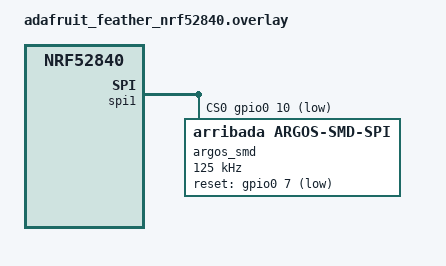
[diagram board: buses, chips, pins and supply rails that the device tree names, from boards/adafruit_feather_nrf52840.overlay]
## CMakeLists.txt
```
# Copyright (c) 2025 Arribada Initiative
# SPDX-License-Identifier: Apache-2.0

cmake_minimum_required(VERSION 3.20.0)

find_package(Zephyr REQUIRED HINTS $ENV{ZEPHYR_BASE})
project(argos_smd_spi_cmd)

target_sources(app PRIVATE src/main.c)
```

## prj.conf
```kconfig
# Copyright (c) 2025 Arribada Initiative
# SPDX-License-Identifier: Apache-2.0

# Argos SMD driver with SPI transport
CONFIG_ARGOS_SMD=y
CONFIG_ARGOS_SMD_SPI=y

# SPI support
CONFIG_SPI=y
CONFIG_GPIO=y

# Logging
CONFIG_LOG=y
CONFIG_LOG_MODE_IMMEDIATE=y
CONFIG_ARGOS_SMD_LOG_LEVEL_DBG=y

# RTT console for debugging
CONFIG_USE_SEGGER_RTT=y
CONFIG_RTT_CONSOLE=y
CONFIG_UART_CONSOLE=n

# RTT log backend must DROP (not block) when its buffer is full, otherwise with
# immediate logging it busy-waits while no RTT host is draining and a context
# switch during that wait can fault. Larger up-buffer for the boot burst.
CONFIG_LOG_BACKEND_RTT_MODE_DROP=y
CONFIG_SEGGER_RTT_BUFFER_SIZE_UP=16384

# Increase stack sizes
CONFIG_MAIN_STACK_SIZE=4096
```

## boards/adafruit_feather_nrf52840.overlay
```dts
/*
 * Copyright (c) 2025 Arribada Initiative
 * SPDX-License-Identifier: Apache-2.0
 *
 * SPI Command Test overlay for Adafruit Feather nRF52840
 *
 * Wiring (Feather -> Argos SMD/STM32):
 * - SCK  (P0.14) -> SPI_CLK  (STM32 PA1)
 * - MOSI (P0.13) -> SPI_MOSI (STM32 PB5)
 * - MISO (P0.15) -> SPI_MISO (STM32 PB4)
 * - CS   (P0.10) -> SPI_NSS  (STM32 PA15)
 * - RST  (P0.07) -> NRST     (recommended: wakes the module from SHUTDOWN
 *                             as a cold boot; the sample uses argos_spi_reset())
 *
 * Waking from SHUTDOWN: in SHUTDOWN the STM32WL55 powers down VCORE and the
 * SPI bus is dead. It can only be woken by NRST (above), by a rising edge on
 * WKUP3 = STM32 PB3, or by its internal RTC. The reset wire is enough for the
 * sample. Optionally, to wake WITHOUT a cold boot (preserving module state),
 * wire Feather D9 (P0.26) -> STM32 PB3/WKUP3 and uncomment wakeup-gpios below;
 * then call argos_spi_wakeup_enable()/disable() instead of/around the reset.
 */

#include <zephyr/dt-bindings/gpio/gpio.h>

/* Disable NFC to use P0.09/P0.10 as GPIO */
&uicr {
	nfct-pins-as-gpios;
};

&spi1 {
	compatible = "nordic,nrf-spim";
	status = "okay";
	cs-gpios = <&gpio0 10 GPIO_ACTIVE_LOW>;

	argos_smd: argos-smd@0 {
		compatible = "arribada,argos-smd-spi";
		reg = <0>;
		spi-max-frequency = <125000>;  /* 125 kHz - minimum for nRF52840 */
		reset-gpios = <&gpio0 7 GPIO_ACTIVE_LOW>;

		/* Optional stateful wake (no cold boot). Requires a physical wire
		 * Feather D9 (P0.26) -> STM32 PB3/WKUP3. Uncomment to enable:
		 */
		/* wakeup-gpios = <&gpio0 26 GPIO_ACTIVE_HIGH>; */
	};
};
```

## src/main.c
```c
/*
 * Copyright (c) 2025 Arribada Initiative
 * SPDX-License-Identifier: Apache-2.0
 *
 * Argos SMD SPI Command Test - Tests all high-level SPI API functions
 */

#include <zephyr/kernel.h>
#include <zephyr/device.h>
#include <zephyr/logging/log.h>
#include <string.h>
#include <errno.h>
#include <argos-smd/argos_smd_spi.h>

LOG_MODULE_REGISTER(spi_cmd_test, LOG_LEVEL_INF);

#define ARGOS_SMD_SPI_NODE DT_NODELABEL(argos_smd)
#if !DT_NODE_EXISTS(ARGOS_SMD_SPI_NODE)
#error "Argos SMD SPI device not found in devicetree"
#endif

static const struct device *dev = DEVICE_DT_GET(ARGOS_SMD_SPI_NODE);
static int errors, total;

/* Print hex data inline */
static void log_hex(const char *prefix, const uint8_t *data, size_t len)
{
	char buf[80];
	int pos = 0;
	size_t max = (len > 20) ? 20 : len;
	for (size_t i = 0; i < max; i++) {
		pos += snprintf(buf + pos, sizeof(buf) - pos, "%02X ", data[i]);
	}
	if (len > 20) {
		snprintf(buf + pos, sizeof(buf) - pos, "...");
	}
	LOG_INF("  %s[%u]: %s", prefix, (unsigned)len, buf);
}

/* Generic test runner */
#define RUN_TEST(name, expr) do { \
	LOG_INF("--- %s ---", name); \
	total++; \
	int _ret = (expr); \
	if (_ret == 0) { \
		LOG_INF("  PASS"); \
	} else if (_ret == -ENOTSUP) { \
		LOG_WRN("  SKIP (not supported)"); \
		total--; \
	} else { \
		LOG_ERR("  FAIL: %d", _ret); \
		errors++; \
	} \
	k_msleep(100); \
} while (0)

/* Test read string parameter (version, sn) */
static int test_read_string(const char *name,
	int (*fn)(const struct device *, char *, size_t *))
{
	char buf[64];
	size_t len = sizeof(buf);
	int ret = fn(dev, buf, &len);
	if (ret == 0) {
		buf[len] = '\0';
		LOG_INF("  %s: \"%s\"", name, buf);
	}
	return ret;
}

/* Test read binary parameter */
static int test_read_binary(const char *name,
	int (*fn)(const struct device *, uint8_t *, size_t *))
{
	uint8_t buf[64];
	size_t len = sizeof(buf);
	int ret = fn(dev, buf, &len);
	if (ret == 0) {
		log_hex(name, buf, len);
	}
	return ret;
}

/* Test message counter read (uint16) */
static int test_read_mc(void)
{
	uint16_t mc;
	int ret = argos_spi_get_mc(dev, &mc);
	if (ret == 0) {
		LOG_INF("  MC: %u", mc);
	}
	return ret;
}

/* Test stack config bitmap read (uint32, read-only) */
static int test_read_kcfg(void)
{
	uint32_t kcfg;
	int ret = argos_spi_get_kcfg(dev, &kcfg);
	if (ret == 0) {
		LOG_INF("  KCFG: 0x%08X (TX timer %s)", kcfg,
			(kcfg & 0x1) ? "suspended" :
			((kcfg & 0x2) ? "resumed" : "n/a"));
	}
	return ret;
}

/* Test MC write: read original, write (orig+1)%512, verify, restore */
static int test_set_mc(void)
{
	uint16_t orig, verify;
	int ret = argos_spi_get_mc(dev, &orig);
	if (ret != 0) {
		return ret;
	}
	LOG_INF("  Original MC: %u", orig);

	uint16_t new_mc = (uint16_t)((orig + 1) % 512);
	ret = argos_spi_set_mc(dev, new_mc);
	if (ret != 0) {
		return ret;
	}
	k_msleep(50);

	ret = argos_spi_get_mc(dev, &verify);
	if (ret != 0) {
		return ret;
	}
	if (verify != new_mc) {
		LOG_ERR("  MC mismatch: wrote %u, read %u", new_mc, verify);
		ret = -EIO;
	} else {
		LOG_INF("  MC write verified: %u", verify);
	}

	/* Restore original */
	(void)argos_spi_set_mc(dev, orig);
	return ret;
}

/* Test ID write: read original, write new, verify, restore */
static int test_set_id(void)
{
	uint8_t orig_id[4], new_id[4], verify_id[4];
	size_t len = sizeof(orig_id);
	int ret;

	/* Read original ID */
	ret = argos_spi_get_id(dev, orig_id, &len);
	if (ret != 0) {
		LOG_ERR("  Read original ID failed: %d", ret);
		return ret;
	}
	log_hex("Original ID", orig_id, len);

	/* Test ID: 123456 (0x12 0x34 0x56 0x00) */
	new_id[0] = 0x12;
	new_id[1] = 0x34;
	new_id[2] = 0x56;
	new_id[3] = 0x00;

	/* Write new ID */
	ret = argos_spi_set_id(dev, new_id, 4);
	if (ret != 0) {
		LOG_ERR("  Write ID failed: %d", ret);
		return ret;
	}
	LOG_INF("  Write OK");

	/* Verify */
	len = sizeof(verify_id);
	ret = argos_spi_get_id(dev, verify_id, &len);
	if (ret != 0) {
		LOG_ERR("  Verify read failed: %d", ret);
		return ret;
	}

	if (memcmp(new_id, verify_id, 4) == 0) {
		LOG_INF("  Verify OK");
	} else {
		log_hex("Expected", new_id, 4);
		log_hex("Got", verify_id, 4);
		LOG_WRN("  Mismatch (RAM vs Flash)");
	}

	/* Restore original */
	ret = argos_spi_set_id(dev, orig_id, 4);
	if (ret == 0) {
		LOG_INF("  Restored original ID");
	}

	return 0;
}

/* Test ADDR write: read original, write new, verify, restore */
static int test_set_addr(void)
{
	uint8_t orig_addr[4], new_addr[4], verify_addr[4];
	size_t len = sizeof(orig_addr);
	int ret;

	/* Read original ADDR */
	ret = argos_spi_get_addr(dev, orig_addr, &len);
	if (ret != 0) {
		LOG_ERR("  Read original ADDR failed: %d", ret);
		return ret;
	}
	log_hex("Original ADDR", orig_addr, len);

	/* Test ADDR: 00112233 */
	new_addr[0] = 0x00;
	new_addr[1] = 0x11;
	new_addr[2] = 0x22;
	new_addr[3] = 0x33;

	/* Write new ADDR */
	ret = argos_spi_set_addr(dev, new_addr, 4);
	if (ret != 0) {
		LOG_ERR("  Write ADDR failed: %d", ret);
		return ret;
	}
	LOG_INF("  Write OK");

	/* Verify */
	len = sizeof(verify_addr);
	ret = argos_spi_get_addr(dev, verify_addr, &len);
	if (ret != 0) {
		LOG_ERR("  Verify read failed: %d", ret);
		return ret;
	}

	if (memcmp(new_addr, verify_addr, 4) == 0) {
		LOG_INF("  Verify OK");
	} else {
		log_hex("Expected", new_addr, 4);
		log_hex("Got", verify_addr, 4);
		LOG_WRN("  Mismatch (RAM vs Flash)");
	}

	/* Restore original */
	ret = argos_spi_set_addr(dev, orig_addr, 4);
	if (ret == 0) {
		LOG_INF("  Restored original ADDR");
	}

	return 0;
}

/* Test SECRET_KEY write: read original, write test key, verify, restore */
static int test_set_secret_key(void)
{
	uint8_t orig_key[16], verify_key[16];
	size_t len = sizeof(orig_key);
	int ret;

	/* Device secret key for encryption (16 bytes) */
	static const uint8_t test_device_secret_key[16] = {
		0x00, 0x11, 0x22, 0x33, 0x44, 0x55, 0x66, 0x77,
		0x88, 0x99, 0xAA, 0xBB, 0xCC, 0xDD, 0xEE, 0xFF
	};

	/* Read original SECRET_KEY */
	ret = argos_spi_get_secret_key(dev, orig_key, &len);
	if (ret != 0) {
		LOG_ERR("  Read original SECRET_KEY failed: %d", ret);
		return ret;
	}
	log_hex("Original SECRET_KEY", orig_key, len);

	/* Write test SECRET_KEY */
	ret = argos_spi_set_secret_key(dev, test_device_secret_key, sizeof(test_device_secret_key));
	if (ret != 0) {
		LOG_ERR("  Write SECRET_KEY failed: %d", ret);
		return ret;
	}
	LOG_INF("  Write OK");

	/* Verify */
	size_t vlen = sizeof(verify_key);
	ret = argos_spi_get_secret_key(dev, verify_key, &vlen);
	if (ret != 0) {
		LOG_ERR("  Verify read failed: %d", ret);
		return ret;
	}

	if (memcmp(test_device_secret_key, verify_key, sizeof(test_device_secret_key)) == 0) {
		LOG_INF("  Verify OK");
	} else {
		log_hex("Expected", test_device_secret_key, sizeof(test_device_secret_key));
		log_hex("Got", verify_key, vlen);
		LOG_WRN("  Mismatch");
	}

	/* Restore original */
	ret = argos_spi_set_secret_key(dev, orig_key, len);
	if (ret == 0) {
		LOG_INF("  Restored original SECRET_KEY");
	}

	return 0;
}

/* Test RCONF write: read original, write test config, verify, restore */
static int test_set_rconf(void)
{
	uint8_t orig_rconf[16], verify_rconf[16];
	size_t len = sizeof(orig_rconf);
	int ret;

	/* Valid LDK RCONF from Kineis (16 bytes encrypted config) */
	static const uint8_t test_rconf[16] = {
		0x03, 0x92, 0x1f, 0xb1, 0x04, 0xb9, 0x28, 0x59,
		0x20, 0x9b, 0x18, 0xab, 0xd0, 0x09, 0xde, 0x96
	};

	/* Read original RCONF */
	ret = argos_spi_get_rconf(dev, orig_rconf, &len);
	if (ret != 0) {
		LOG_ERR("  Read original RCONF failed: %d", ret);
		return ret;
	}
	log_hex("Original RCONF", orig_rconf, len);

	/* Write test RCONF */
	ret = argos_spi_set_rconf(dev, test_rconf, sizeof(test_rconf));
	if (ret != 0) {
		LOG_ERR("  Write RCONF failed: %d", ret);
		return ret;
	}
	LOG_INF("  Write OK");

	/* Verify */
	size_t vlen = sizeof(verify_rconf);
	ret = argos_spi_get_rconf(dev, verify_rconf, &vlen);
	if (ret != 0) {
		LOG_ERR("  Verify read failed: %d", ret);
		return ret;
	}

	if (memcmp(test_rconf, verify_rconf, sizeof(test_rconf)) == 0) {
		LOG_INF("  Verify OK");
	} else {
		log_hex("Expected", test_rconf, sizeof(test_rconf));
		log_hex("Got", verify_rconf, vlen);
		LOG_WRN("  Mismatch");
	}

	/* Restore original */
	ret = argos_spi_set_rconf(dev, orig_rconf, len);
	if (ret == 0) {
		LOG_INF("  Restored original RCONF");
	}

	return 0;
}

/* Test TX message send */
static int test_tx_message(void)
{
	int ret;

	/* Configure RCONF for TX test */
	static const uint8_t tx_rconf[16] = {
		0x3d, 0x67, 0x8a, 0xf1, 0x6b, 0x5a, 0x57, 0x20,
		0x78, 0xf3, 0xdb, 0xc9, 0x5a, 0x11, 0x04, 0xe7
	};

	LOG_INF("  Writing RCONF for TX test...");
	ret = argos_spi_set_rconf(dev, tx_rconf, sizeof(tx_rconf));
	if (ret != 0) {
		LOG_ERR("  RCONF write failed: %d", ret);
		return ret;
	}
	LOG_INF("  RCONF configured successfully");

	/* Set KMAC=1 (profile 1) */
	LOG_INF("  Setting KMAC=1...");
	ret = argos_spi_set_kmac(dev, 1);
	if (ret != 0) {
		LOG_ERR("  KMAC write failed: %d", ret);
		return ret;
	}
	LOG_INF("  KMAC set to 1 successfully");

	/* Test payload: 24 bytes for LDA2 mode (or 16 for LDK)
	 * The payload size must match the RCONF modulation setting */
	static const uint8_t tx_data[24] = {
		'H', 'E', 'L', 'L', 'O', ' ', 'A', 'R',
		'G', 'O', 'S', ' ', 'T', 'E', 'S', 'T',
		0x01, 0x02, 0x03, 0x04, 0x05, 0x06, 0x07, 0x08
	};

	LOG_INF("  Sending TX message: %zu bytes (LDA2 mode)", sizeof(tx_data));

	ret = argos_spi_write_tx(dev, tx_data, sizeof(tx_data));
	if (ret != 0) {
		LOG_ERR("  TX queue failed: %d", ret);
		return ret;
	}
	LOG_INF("  TX queued successfully");

	/* Wait 2s after TX before checking status (RF transmission in progress) */
	LOG_INF("  Waiting 2s for RF transmission to start...");
	k_msleep(2000);

	/* Wait for TX completion with timeout */
	LOG_INF("  Waiting for TX completion...");
	ret = argos_spi_wait_tx_complete(dev, K_SECONDS(30));
	if (ret == 0) {
		LOG_INF("  TX completed successfully!");
	} else if (ret == -ETIMEDOUT) {
		LOG_WRN("  TX timeout (expected without satellite)");
		return 0;  /* Not a failure - just no satellite */
	} else {
		LOG_ERR("  TX failed: %d", ret);
		return ret;
	}

	return 0;
}

int main(void)
{
	LOG_INF("========================================");
	LOG_INF("   Argos SMD SPI Command Test");
	LOG_INF("========================================");

	if (!device_is_ready(dev)) {
		LOG_ERR("Device not ready!");
		return -1;
	}

	/* Phase 1: Init - wake the module, then sync the protocol.
	 *
	 * If the module is in SHUTDOWN its SPI bus is dead until it is woken.
	 * WAKEUP drives the optional wakeup-gpios line (STM32 PB3/WKUP3) HIGH to
	 * wake without a cold boot; it is SKIPped when no wakeup pin is wired.
	 * RESET (NRST) wakes the module from SHUTDOWN as a cold boot and works
	 * with only the reset wire, so it is the reliable fallback here.
	 */
	LOG_INF("");
	LOG_INF("== INIT ==");
	RUN_TEST("WAKEUP", argos_spi_wakeup_enable(dev));
	RUN_TEST("SYNC", argos_spi_sync(dev));
	RUN_TEST("RESET", argos_spi_reset(dev));
	k_msleep(400);

	/* Phase 2: Read-only commands */
	LOG_INF("");
	LOG_INF("== READ COMMANDS ==");
	RUN_TEST("PING", argos_spi_ping(dev));
	RUN_TEST("VERSION", test_read_string("Version", argos_spi_get_version));
	RUN_TEST("SERIAL", test_read_string("SN", argos_spi_get_sn));
	RUN_TEST("ID", test_read_binary("ID", argos_spi_get_id));
	RUN_TEST("ADDR", test_read_binary("Addr", argos_spi_get_addr));
	RUN_TEST("RCONF", test_read_binary("RConf", argos_spi_get_rconf));
	RUN_TEST("RCONF_RAW", test_read_binary("RConfRaw", argos_spi_get_rconf_raw));
	RUN_TEST("MC", test_read_mc());
	RUN_TEST("KCFG", test_read_kcfg());

	/* Phase 3: Write commands (ID/ADDR only - don't affect MAC) */
	LOG_INF("");
	LOG_INF("== WRITE COMMANDS ==");
	RUN_TEST("SET_ID", test_set_id());
	RUN_TEST("SET_ADDR", test_set_addr());
	RUN_TEST("SET_SECRET_KEY", test_set_secret_key());
	RUN_TEST("SET_MC", test_set_mc());

	/* Phase 4: TX Message (before RCONF changes - RCONF change requires MAC reset) */
	LOG_INF("");
	LOG_INF("== TX MESSAGE ==");
	RUN_TEST("TX_MSG", test_tx_message());

	/* Phase 5: RCONF test (last - changes MAC profile, would need AT+KMAC=1 to TX again) */
	LOG_INF("");
	LOG_INF("== RCONF WRITE ==");
	RUN_TEST("SET_RCONF", test_set_rconf());

	/* Phase 6: Diagnostic */
	LOG_INF("");
	LOG_INF("== DIAGNOSTIC ==");
	RUN_TEST("DIAG", argos_spi_diagnostic(dev));

	/* Summary */
	LOG_INF("");
	LOG_INF("========================================");
	LOG_INF("  Tests: %d | Passed: %d | Failed: %d", total, total - errors, errors);
	LOG_INF("  %s", errors == 0 ? ">> ALL PASSED <<" : ">> FAILURES <<");
	LOG_INF("========================================");

	return errors;
}
```
